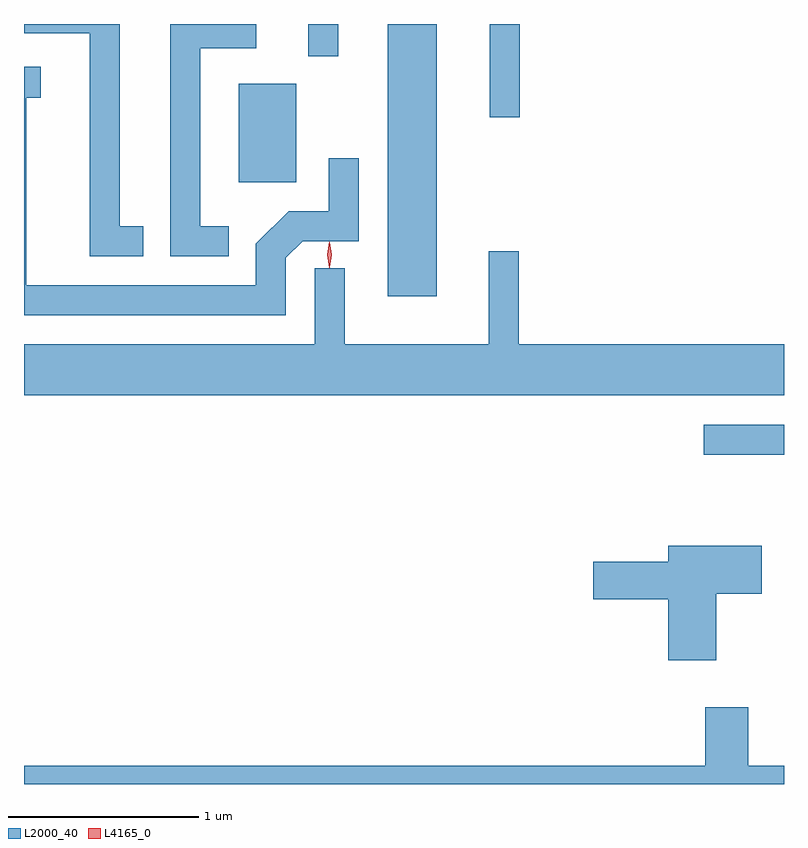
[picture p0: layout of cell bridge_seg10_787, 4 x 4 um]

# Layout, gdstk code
import gdstk
lib = gdstk.Library(unit=1e-6, precision=1e-09)
def R(c, l, rs):  # rectangles x0, y0, x1, y1
    for r in rs: c.add(gdstk.rectangle(r[:2], r[2:], *l))
def P(c, l, *ps):  # polygons
    for p in ps: c.add(gdstk.Polygon(p, *l))
L2000_40 = (2000, 40)
L4165_0 = (4165, 0)

bridge_seg10_787 = lib.new_cell('bridge_seg10_787')
R(bridge_seg10_787, L2000_40, [(333.878,2115.821,334.301,2115.979), (332.216,2116.656,332.474,2118.089), (331.431,2117.256,331.734,2117.774), (332.751,2117.598,332.909,2118.089), (331.796,2117.918,331.954,2118.089)])
P(bridge_seg10_787, L2000_40, [(331.378,2117.024),(331.229,2117.024),(331.229,2117.961),(331.523,2117.961),(331.523,2118.089),(331.071,2118.089),(331.071,2116.866),(331.378,2116.866)],
  [(330.928,2117.024),(330.804,2117.024),(330.804,2118.089),(330.301,2118.089),(330.301,2118.041),(330.646,2118.041),(330.646,2116.866),(330.928,2116.866)],
  [(331.679,2116.859),(331.767,2116.946),(332.064,2116.946),(332.064,2117.383),(331.906,2117.383),(331.906,2117.104),(331.694,2117.104),(331.521,2116.932),(331.521,2116.714),(330.314,2116.714),(330.314,2117.701),(330.388,2117.701),(330.388,2117.864),(330.301,2117.864),(330.301,2116.556),(331.679,2116.556)],
  [(334.301,2116.404),(332.904,2116.404),(332.904,2116.893),(332.746,2116.893),(332.746,2116.404),(331.989,2116.404),(331.989,2116.803),(331.831,2116.803),(331.831,2116.404),(330.301,2116.404),(330.301,2116.136),(334.301,2116.136)],
  [(333.944,2115.091),(334.184,2115.091),(334.184,2115.344),(333.691,2115.344),(333.691,2115.259),(333.296,2115.259),(333.296,2115.061),(333.691,2115.061),(333.691,2114.741),(333.944,2114.741)],
  [(334.301,2114.184),(334.114,2114.184),(334.114,2114.494),(333.886,2114.494),(333.886,2114.184),(330.301,2114.184),(330.301,2114.089),(334.301,2114.089)])
P(bridge_seg10_787, L4165_0, [(331.908,2116.804),(331.908,2116.805),(331.898,2116.874),(331.907,2116.943),(331.908,2116.943),(331.908,2116.943),(331.918,2116.874),(331.908,2116.805)],
  [(331.91,2116.807),(331.909,2116.808),(331.9,2116.874),(331.909,2116.94),(331.909,2116.941),(331.91,2116.94),(331.92,2116.874),(331.91,2116.808)])

lib.write_gds('bridge_seg10_787.gds')
